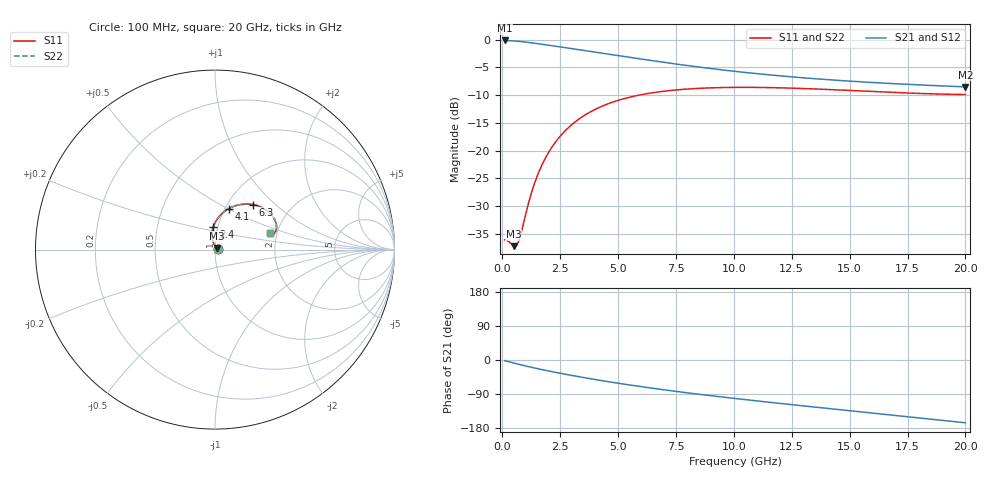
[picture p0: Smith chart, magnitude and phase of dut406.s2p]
! Touchstone file exported from HFSS 2024.1.0
!  File:  C:/UserFiles/LocalFiles/RDL_TSV_Batchsim/temp_RDL_TSV_406_1779712864.aedt
!  Generated:  09:01:14 PM May 25, 2026
!  Design:  RDL_TSV
!  Project:  temp_RDL_TSV_406_1779712864
!  Setup:  Setup1
!  Solution:  Sweep
! Variables:
!  dtsv = 14.25um
!  hbump = 3um
!  htsv = 57.02um
!  ldown = 589.61um
!  lrdl = 148.36um
!  p = 40
!  p1 = 57.81um
!  rhole = 10um
!  subl = 2362.27um
!  t = 450um
!  tdown = 2.94um
!  trdl = 4.76um
!  viad = 10um
!  wdown = 15.87um
!  wrdl = 19.83um
!  xbump = 18um
# GHz S MA R 50.000000
! Terminal data exported
! Port[1] = TM1_1_T1
! Port[2] = TM1_4_T1
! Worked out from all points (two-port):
!   200 points, 100 MHz to 20 GHz, reference 50 ohm
!   highest |S21| = -0.14 dB at 100 MHz (marker M1); lowest = -8.5 dB at 20 GHz (marker M2)
!   |S21| within 3 dB of the highest: start of sweep to 5.433 GHz
!   lowest |S11| = -37.2 dB at 500 MHz (marker M3), VSWR 1.03, Z = 51.1 + j0.869 ohm
!   |S11| at or under -10 dB: start of sweep to 5.909 GHz
!   |S22| runs from -37.2 to -8.6 dB; largest |S21 - S12| = 1.6e-14
!   S11 on the Smith chart (normalised r, x): 100 MHz: 1.03, +0.00; 2.4 GHz: 0.95, +0.25; 4.1 GHz: 1.04, +0.50; 6.3 GHz: 1.30, +0.73; 20 GHz: 1.83, +0.38
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0.1  0.0157 6.0  0.9837 -1.7  0.9837 -1.7  0.0157 6.0
! Gamma 0 0 0 0
! Port Impedance 50 0 50 0
0.5  0.01375 38.2  0.974 -8.1  0.974 -8.1  0.01375 38.2
0.6  0.01382 52.3  0.9702 -9.6  0.9702 -9.6  0.01381 52.3
0.7  0.01502 67.4  0.966 -11.2  0.966 -11.2  0.01502 67.4
0.8  0.01759 80.4  0.9614 -12.7  0.9614 -12.7  0.01759 80.4
1.2  0.03779 102.8  0.94 -18.5  0.94 -18.5  0.03781 102.8
1.4  0.0512 104.4  0.9281 -21.2  0.9281 -21.2  0.05123 104.4
1.6  0.06571 103.8  0.9159 -23.9  0.9159 -23.9  0.06575 103.8
2  0.0963 99.6  0.8911 -29.0  0.8911 -29.0  0.09635 99.6
2.4  0.1272 94.1  0.8665 -33.8  0.8665 -33.8  0.1273 94.2
2.9  0.1642 87.0  0.8363 -39.6  0.8363 -39.6  0.1643 87.1
3.5  0.2048 78.9  0.8012 -46.2  0.8012 -46.2  0.2049 78.9
4.1  0.2402 71.5  0.7672 -52.4  0.7672 -52.4  0.2403 71.5
5.1  0.2876 60.8  0.7134 -62.2  0.7134 -62.2  0.2878 60.8
6.3  0.3273 50.1  0.6547 -73.0  0.6547 -73.0  0.3276 50.2
6.8  0.3392 46.3  0.6323 -77.2  0.6323 -77.2  0.3395 46.4
8.4  0.3632 36.2  0.5696 -89.7  0.5696 -89.7  0.3635 36.2
10.1  0.3715 28.1  0.5167 -101.9  0.5167 -101.9  0.3719 28.1
11.7  0.3692 22.5  0.478 -112.6  0.478 -112.6  0.3696 22.5
13.4  0.3602 18.3  0.4461 -123.6  0.4461 -123.6  0.3606 18.3
16.7  0.3358 14.9  0.4033 -144.5  0.4033 -144.5  0.3363 14.9
20  0.3204 16.9  0.3753 -165.7  0.3753 -165.7  0.3209 16.9
